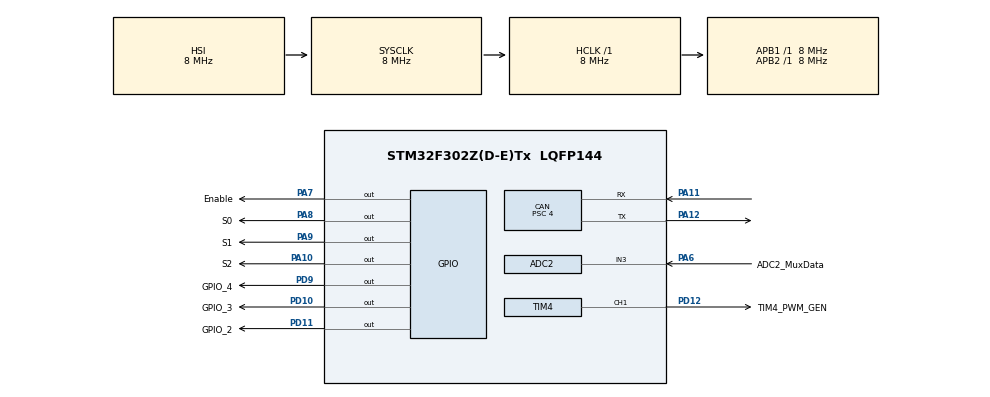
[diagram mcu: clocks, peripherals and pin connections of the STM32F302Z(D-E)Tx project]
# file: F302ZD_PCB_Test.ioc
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ADC2.Channel-0\#ChannelRegularConversion=ADC_CHANNEL_3
ADC2.NbrOfConversionFlag=1
ADC2.Offset-0\#ChannelRegularConversion=0
ADC2.OffsetNumber-0\#ChannelRegularConversion=ADC_OFFSET_NONE
ADC2.Rank-0\#ChannelRegularConversion=1
ADC2.SamplingTime-0\#ChannelRegularConversion=ADC_SAMPLETIME_1CYCLE_5
CAN.BS1=CAN_BS1_2TQ
CAN.CalculateBaudRate=500000
CAN.CalculateTimeBit=2000.00
CAN.CalculateTimeQuantum=500.0
CAN.Mode=CAN_MODE_LOOPBACK
CAN.Prescaler=4
FREERTOS.Tasks01=BlinkyLEDTask,24,128,StartBlinkyLEDTask,Default,NULL,Dynamic,NULL,NULL;adcSamplingTask,8,128,StartadcSamplingTask,Default,NULL,Dynamic,NULL,NULL;CANBroadcast,8,128,StartTask03,Default,NULL,Dynamic,NULL,NULL
Mcu.Family=STM32F3
Mcu.Name=STM32F302Z(D-E)Tx
Mcu.Package=LQFP144
NVIC.PriorityGroup=NVIC_PRIORITYGROUP_4
NVIC.TIM6_DAC_IRQn=true\:15\:0\:false\:false\:true\:false\:false\:true
NVIC.TimeBase=TIM6_DAC_IRQn
NVIC.TimeBaseIP=TIM6
NVIC.USB_LP_CAN_RX0_IRQn=true\:5\:0\:false\:false\:true\:true\:true\:true
PA10.GPIO_Label=S2
PA10.Signal=GPIO_Output
PA11.Mode=CAN_Activate
PA11.Signal=CAN_RX
PA12.Mode=CAN_Activate
PA12.Signal=CAN_TX
PA13.Mode=JTAG_5_pins
PA13.Signal=SYS_JTMS-SWDIO
PA14.Mode=JTAG_5_pins
PA14.Signal=SYS_JTCK-SWCLK
PA15.Mode=JTAG_5_pins
PA15.Signal=SYS_JTDI
PA6.GPIO_Label=ADC2_MuxData
PA6.Mode=IN3-Single-Ended
PA6.Signal=ADC2_IN3
PA7.GPIO_Label=Enable
PA7.Signal=GPIO_Output
PA8.GPIO_Label=S0
PA8.Signal=GPIO_Output
PA9.GPIO_Label=S1
PA9.Signal=GPIO_Output
PB3.Mode=JTAG_5_pins
PB3.Signal=SYS_JTDO-TRACESWO
PB4.Mode=JTAG_5_pins
PB4.Signal=SYS_NJTRST
PD10.GPIO_Label=GPIO_3
PD10.Signal=GPIO_Output
PD11.GPIO_Label=GPIO_2
PD11.Signal=GPIO_Output
PD12.GPIO_Label=TIM4_PWM_GEN
PD12.Signal=S_TIM4_CH1
PD9.GPIO_Label=GPIO_4
PD9.Signal=GPIO_Output
ProjectManager.HeapSize=0x200
ProjectManager.StackSize=0x400
ProjectManager.TargetToolchain=STM32CubeIDE
RCC.AHBFreq_Value=8000000
RCC.APB1Freq_Value=8000000
RCC.APB2Freq_Value=8000000
RCC.CortexFreq_Value=8000000
RCC.HSE_VALUE=8000000
RCC.HSI_VALUE=8000000
RCC.LSE_VALUE=32768
RCC.SYSCLKFreq_VALUE=8000000
RCC.USBFreq_Value=16000000
SH.S_TIM4_CH1.0=TIM4_CH1,PWM Generation1 CH1
TIM4.Channel-PWM\ Generation1\ CH1=TIM_CHANNEL_1
VP_FREERTOS_VS_CMSIS_V2.Mode=CMSIS_V2
VP_SYS_VS_tim6.Mode=TIM6
board=custom

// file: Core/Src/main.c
/* USER CODE BEGIN Header */
/**
  ******************************************************************************
  * @file           : main.c
  * @brief          : Main program body
  ******************************************************************************
  * @attention
  *
  * <h2><center>&copy; Copyright (c) 2022 STMicroelectronics.
  * All rights reserved.</center></h2>
  *
  * This software component is licensed by ST under BSD 3-Clause license,
  * the "License"; You may not use this file except in compliance with the
  * License. You may obtain a copy of the License at:
  *                        opensource.org/licenses/BSD-3-Clause
  *
  ******************************************************************************
  */
/* USER CODE END Header */
#include "main.h"
#include "cmsis_os.h"

ADC_HandleTypeDef hadc2;

CAN_HandleTypeDef hcan;

TIM_HandleTypeDef htim4;

/* Definitions for BlinkyLEDTask */
osThreadId_t BlinkyLEDTaskHandle;
const osThreadAttr_t BlinkyLEDTask_attributes = {
  .name = "BlinkyLEDTask",
  .stack_size = 128 * 4,
  .priority = (osPriority_t) osPriorityNormal,
};
/* Definitions for adcSamplingTask */
osThreadId_t adcSamplingTaskHandle;
const osThreadAttr_t adcSamplingTask_attributes = {
  .name = "adcSamplingTask",
  .stack_size = 128 * 4,
  .priority = (osPriority_t) osPriorityLow,
};
/* Definitions for CANBroadcast */
osThreadId_t CANBroadcastHandle;
const osThreadAttr_t CANBroadcast_attributes = {
  .name = "CANBroadcast",
  .stack_size = 128 * 4,
  .priority = (osPriority_t) osPriorityLow,
};
/* USER CODE BEGIN PV */
CAN_TxHeaderTypeDef TxHeader; //tx header
CAN_RxHeaderTypeDef RxHeader; //rx header

uint32_t canMailbox; //mailbox holder

uint8_t TxData[8];  //tx bufer
uint8_t RxData[8];  //rx buffer

uint8_t count = 0;

/* USER CODE END PV */

void SystemClock_Config(void);
static void MX_GPIO_Init(void);
static void MX_ADC2_Init(void);
static void MX_CAN_Init(void);
static void MX_TIM4_Init(void);
void StartBlinkyLEDTask(void *argument);
void StartadcSamplingTask(void *argument);
void StartTask03(void *argument);

int main(void)
{

  /* MCU Configuration--------------------------------------------------------*/

  /* Reset of all peripherals, Initializes the Flash interface and the Systick. */
  HAL_Init();

  /* Configure the system clock */
  SystemClock_Config();

  /* Initialize all configured peripherals */
  MX_GPIO_Init();
  MX_ADC2_Init();
  MX_CAN_Init();
  MX_TIM4_Init();
  /* USER CODE BEGIN 2 */
//  HAL_GPIO_WritePin(Enable_GPIO_Port, Enable_Pin, GPIO_PIN_RESET);
  HAL_CAN_Start(&hcan);
    //inilitlize callback function
    HAL_CAN_ActivateNotification(&hcan, CAN_IT_RX_FIFO0_MSG_PENDING);

    TxHeader.DLC = 1; //message size of two bytes
    TxHeader.ExtId = 0;
    TxHeader.IDE = CAN_ID_STD; //use standard ID formats
    TxHeader.RTR = CAN_RTR_DATA; //data type for transmit frame
    TxHeader.StdId = 0x69; //ID of the transmitter
    TxHeader.TransmitGlobalTime = DISABLE;

    TxData[0] = 0xf3;
    HAL_CAN_AddTxMessage(&hcan, &TxHeader, TxData, &canMailbox);

  /* USER CODE END 2 */

  /* Init scheduler */
  osKernelInitialize();

  /* Create the thread(s) */
  /* creation of BlinkyLEDTask */
  BlinkyLEDTaskHandle = osThreadNew(StartBlinkyLEDTask, NULL, &BlinkyLEDTask_attributes);

  /* creation of adcSamplingTask */
  adcSamplingTaskHandle = osThreadNew(StartadcSamplingTask, NULL, &adcSamplingTask_attributes);

  /* creation of CANBroadcast */
  CANBroadcastHandle = osThreadNew(StartTask03, NULL, &CANBroadcast_attributes);

  /* Start scheduler */
  osKernelStart();

  /* We should never get here as control is now taken by the scheduler */
  /* Infinite loop */
  while (1)
  {

  }
}

void SystemClock_Config(void)
{
  RCC_OscInitTypeDef RCC_OscInitStruct = {0};
  RCC_ClkInitTypeDef RCC_ClkInitStruct = {0};
  RCC_PeriphCLKInitTypeDef PeriphClkInit = {0};

  /** Initializes the RCC Oscillators according to the specified parameters
  * in the RCC_OscInitTypeDef structure.
  */
  RCC_OscInitStruct.OscillatorType = RCC_OSCILLATORTYPE_HSI;
  RCC_OscInitStruct.HSIState = RCC_HSI_ON;
  RCC_OscInitStruct.HSICalibrationValue = RCC_HSICALIBRATION_DEFAULT;
  RCC_OscInitStruct.PLL.PLLState = RCC_PLL_ON;
  RCC_OscInitStruct.PLL.PLLSource = RCC_PLLSOURCE_HSI;
  RCC_OscInitStruct.PLL.PLLMUL = RCC_PLL_MUL2;
  RCC_OscInitStruct.PLL.PREDIV = RCC_PREDIV_DIV1;
  if (HAL_RCC_OscConfig(&RCC_OscInitStruct) != HAL_OK)
  {
    Error_Handler();
  }
  /** Initializes the CPU, AHB and APB buses clocks
  */
  RCC_ClkInitStruct.ClockType = RCC_CLOCKTYPE_HCLK|RCC_CLOCKTYPE_SYSCLK
                              |RCC_CLOCKTYPE_PCLK1|RCC_CLOCKTYPE_PCLK2;
  RCC_ClkInitStruct.SYSCLKSource = RCC_SYSCLKSOURCE_HSI;
  RCC_ClkInitStruct.AHBCLKDivider = RCC_SYSCLK_DIV1;
  RCC_ClkInitStruct.APB1CLKDivider = RCC_HCLK_DIV1;
  RCC_ClkInitStruct.APB2CLKDivider = RCC_HCLK_DIV1;

  if (HAL_RCC_ClockConfig(&RCC_ClkInitStruct, FLASH_LATENCY_0) != HAL_OK)
  {
    Error_Handler();
  }
  PeriphClkInit.PeriphClockSelection = RCC_PERIPHCLK_ADC12|RCC_PERIPHCLK_TIM34;
  PeriphClkInit.Adc12ClockSelection = RCC_ADC12PLLCLK_DIV1;
  PeriphClkInit.Tim34ClockSelection = RCC_TIM34CLK_HCLK;
  if (HAL_RCCEx_PeriphCLKConfig(&PeriphClkInit) != HAL_OK)
  {
    Error_Handler();
  }
}

static void MX_ADC2_Init(void)
{

  ADC_ChannelConfTypeDef sConfig = {0};

  /** Common config
  */
  hadc2.Instance = ADC2;
  hadc2.Init.ClockPrescaler = ADC_CLOCK_ASYNC_DIV1;
  hadc2.Init.Resolution = ADC_RESOLUTION_12B;
  hadc2.Init.ScanConvMode = ADC_SCAN_DISABLE;
  hadc2.Init.ContinuousConvMode = DISABLE;
  hadc2.Init.DiscontinuousConvMode = DISABLE;
  hadc2.Init.ExternalTrigConvEdge = ADC_EXTERNALTRIGCONVEDGE_NONE;
  hadc2.Init.ExternalTrigConv = ADC_SOFTWARE_START;
  hadc2.Init.DataAlign = ADC_DATAALIGN_RIGHT;
  hadc2.Init.NbrOfConversion = 1;
  hadc2.Init.DMAContinuousRequests = DISABLE;
  hadc2.Init.EOCSelection = ADC_EOC_SINGLE_CONV;
  hadc2.Init.LowPowerAutoWait = DISABLE;
  hadc2.Init.Overrun = ADC_OVR_DATA_OVERWRITTEN;
  if (HAL_ADC_Init(&hadc2) != HAL_OK)
  {
    Error_Handler();
  }
  /** Configure Regular Channel
  */
  sConfig.Channel = ADC_CHANNEL_3;
  sConfig.Rank = ADC_REGULAR_RANK_1;
  sConfig.SingleDiff = ADC_SINGLE_ENDED;
  sConfig.SamplingTime = ADC_SAMPLETIME_1CYCLE_5;
  sConfig.OffsetNumber = ADC_OFFSET_NONE;
  sConfig.Offset = 0;
  if (HAL_ADC_ConfigChannel(&hadc2, &sConfig) != HAL_OK)
  {
    Error_Handler();
  }

}

static void MX_CAN_Init(void)
{

  hcan.Instance = CAN;
  hcan.Init.Prescaler = 4;
  hcan.Init.Mode = CAN_MODE_LOOPBACK;
  hcan.Init.SyncJumpWidth = CAN_SJW_1TQ;
  hcan.Init.TimeSeg1 = CAN_BS1_2TQ;
  hcan.Init.TimeSeg2 = CAN_BS2_1TQ;
  hcan.Init.TimeTriggeredMode = DISABLE;
  hcan.Init.AutoBusOff = DISABLE;
  hcan.Init.AutoWakeUp = DISABLE;
  hcan.Init.AutoRetransmission = DISABLE;
  hcan.Init.ReceiveFifoLocked = DISABLE;
  hcan.Init.TransmitFifoPriority = DISABLE;
  if (HAL_CAN_Init(&hcan) != HAL_OK)
  {
    Error_Handler();
  }
  /* USER CODE BEGIN CAN_Init 2 */
  CAN_FilterTypeDef canFilterConfig;  //can filter config
  canFilterConfig.FilterActivation = CAN_FILTER_ENABLE;
	canFilterConfig.FilterBank = 14;
	canFilterConfig.FilterFIFOAssignment = CAN_FILTER_FIFO0;
	canFilterConfig.FilterIdHigh = 0;
	canFilterConfig.FilterIdLow = 0x0000;
	canFilterConfig.FilterMaskIdHigh = 0x0000;
	canFilterConfig.FilterMaskIdLow = 0x0000;
	canFilterConfig.FilterMode = CAN_FILTERMODE_IDMASK;
	canFilterConfig.FilterScale = CAN_FILTERSCALE_32BIT;
	canFilterConfig.SlaveStartFilterBank = 0;
//Configuring CAN filter for CAN1
HAL_CAN_ConfigFilter(&hcan, &canFilterConfig);
  /* USER CODE END CAN_Init 2 */

}

static void MX_TIM4_Init(void)
{

  TIM_MasterConfigTypeDef sMasterConfig = {0};
  TIM_OC_InitTypeDef sConfigOC = {0};

  htim4.Instance = TIM4;
  htim4.Init.Prescaler = 0;
  htim4.Init.CounterMode = TIM_COUNTERMODE_UP;
  htim4.Init.Period = 65535;
  htim4.Init.ClockDivision = TIM_CLOCKDIVISION_DIV1;
  htim4.Init.AutoReloadPreload = TIM_AUTORELOAD_PRELOAD_DISABLE;
  if (HAL_TIM_PWM_Init(&htim4) != HAL_OK)
  {
    Error_Handler();
  }
  sMasterConfig.MasterOutputTrigger = TIM_TRGO_RESET;
  sMasterConfig.MasterSlaveMode = TIM_MASTERSLAVEMODE_DISABLE;
  if (HAL_TIMEx_MasterConfigSynchronization(&htim4, &sMasterConfig) != HAL_OK)
  {
    Error_Handler();
  }
  sConfigOC.OCMode = TIM_OCMODE_PWM1;
  sConfigOC.Pulse = 0;
  sConfigOC.OCPolarity = TIM_OCPOLARITY_HIGH;
  sConfigOC.OCFastMode = TIM_OCFAST_DISABLE;
  if (HAL_TIM_PWM_ConfigChannel(&htim4, &sConfigOC, TIM_CHANNEL_1) != HAL_OK)
  {
    Error_Handler();
  }
  HAL_TIM_MspPostInit(&htim4);

}

static void MX_GPIO_Init(void)
{
  GPIO_InitTypeDef GPIO_InitStruct = {0};

  /* GPIO Ports Clock Enable */
  __HAL_RCC_GPIOA_CLK_ENABLE();
  __HAL_RCC_GPIOD_CLK_ENABLE();
  __HAL_RCC_GPIOB_CLK_ENABLE();

  /*Configure GPIO pin Output Level */
  HAL_GPIO_WritePin(GPIOA, Enable_Pin|S0_Pin|S1_Pin|S2_Pin, GPIO_PIN_RESET);

  /*Configure GPIO pin Output Level */
  HAL_GPIO_WritePin(GPIOD, GPIO_4_Pin|GPIO_3_Pin|GPIO_2_Pin, GPIO_PIN_RESET);

  /*Configure GPIO pins : Enable_Pin S0_Pin S1_Pin S2_Pin */
  GPIO_InitStruct.Pin = Enable_Pin|S0_Pin|S1_Pin|S2_Pin;
  GPIO_InitStruct.Mode = GPIO_MODE_OUTPUT_PP;
  GPIO_InitStruct.Pull = GPIO_NOPULL;
  GPIO_InitStruct.Speed = GPIO_SPEED_FREQ_LOW;
  HAL_GPIO_Init(GPIOA, &GPIO_InitStruct);

  /*Configure GPIO pins : GPIO_4_Pin GPIO_3_Pin GPIO_2_Pin */
  GPIO_InitStruct.Pin = GPIO_4_Pin|GPIO_3_Pin|GPIO_2_Pin;
  GPIO_InitStruct.Mode = GPIO_MODE_OUTPUT_PP;
  GPIO_InitStruct.Pull = GPIO_NOPULL;
  GPIO_InitStruct.Speed = GPIO_SPEED_FREQ_LOW;
  HAL_GPIO_Init(GPIOD, &GPIO_InitStruct);

}

/* USER CODE BEGIN 4 */
void Send_Debug(char *message, size_t len)
{
	for (int i = 0; i < len; i++)
	{
		ITM_SendChar(message[i]);
	}
	ITM_SendChar('\n');
}

void HAL_CAN_RxFifo0MsgPendingCallback(CAN_HandleTypeDef *hcan)
{
	count++;
	HAL_CAN_GetRxMessage(hcan, CAN_RX_FIFO0, &RxHeader, RxData);
//	HAL_GPIO_TogglePin(LD1_GPIO_Port, LD1_Pin);
}
/* USER CODE END 4 */

void StartBlinkyLEDTask(void *argument)
{
  /* USER CODE BEGIN 5 */
  /* Infinite loop */
  for(;;)
  {
	HAL_GPIO_TogglePin(S0_GPIO_Port, S0_Pin);
	osDelay(500);
	HAL_GPIO_TogglePin(S1_GPIO_Port, S1_Pin);
	osDelay(500);
	HAL_GPIO_TogglePin(S2_GPIO_Port, S2_Pin);
    osDelay(500);
  }
  /* USER CODE END 5 */
}

void StartadcSamplingTask(void *argument)
{
  /* USER CODE BEGIN StartadcSamplingTask */
  //HAL_GPIO_WritePin(Enable_GPIO_Port, Enable_Pin, GPIO_PIN_SET);
  //HAL_GPIO_WritePin(Enable_GPIO_Port, Enable_Pin, GPIO_PIN_RESET);
  HAL_ADC_Start(&hadc2);
  HAL_ADC_PollForConversion(&hadc2, HAL_MAX_DELAY);
  uint16_t raw;
  char formatted[6];
//  char test[2] = "69";
  /* Infinite loop */
  for(;;)
  {
	raw = HAL_ADC_GetValue(&hadc2);
	sprintf(formatted, "%hu", raw);
//	Send_Debug(test, 2);
	Send_Debug(formatted, 5);
    osDelay(50);
  }
  /* USER CODE END StartadcSamplingTask */
}

void StartTask03(void *argument)
{
  /* USER CODE BEGIN StartTask03 */
  /* Infinite loop */
  for(;;)
  {
	HAL_CAN_AddTxMessage(&hcan, &TxHeader, TxData, &canMailbox);
    osDelay(1000);
  }
  /* USER CODE END StartTask03 */
}

void HAL_TIM_PeriodElapsedCallback(TIM_HandleTypeDef *htim)
{
  if (htim->Instance == TIM6) {
    HAL_IncTick();
  }
}

void Error_Handler(void)
{
  __disable_irq();
  while (1)
  {
  }
}

/************************ (C) COPYRIGHT STMicroelectronics *****END OF FILE****/
